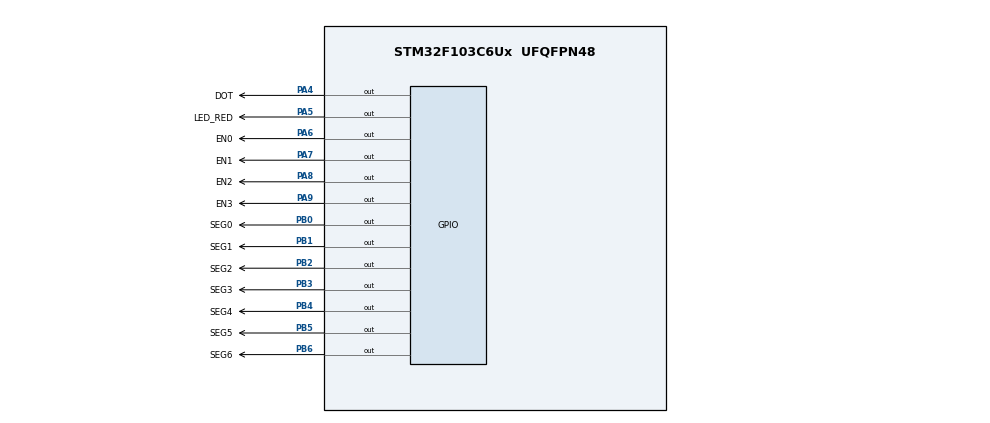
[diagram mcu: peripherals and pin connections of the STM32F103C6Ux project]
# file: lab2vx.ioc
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Mcu.Family=STM32F1
Mcu.Name=STM32F103C6Ux
Mcu.Package=UFQFPN48
NVIC.PriorityGroup=NVIC_PRIORITYGROUP_4
NVIC.TIM2_IRQn=true\:0\:0\:false\:false\:true\:true\:true
PA4.GPIO_Label=DOT
PA4.Signal=GPIO_Output
PA5.GPIO_Label=LED_RED
PA5.Signal=GPIO_Output
PA6.GPIO_Label=EN0
PA6.Signal=GPIO_Output
PA7.GPIO_Label=EN1
PA7.Signal=GPIO_Output
PA8.GPIO_Label=EN2
PA8.Signal=GPIO_Output
PA9.GPIO_Label=EN3
PA9.Signal=GPIO_Output
PB0.GPIO_Label=SEG0
PB0.Signal=GPIO_Output
PB1.GPIO_Label=SEG1
PB1.Signal=GPIO_Output
PB2.GPIO_Label=SEG2
PB2.Signal=GPIO_Output
PB3.GPIO_Label=SEG3
PB3.Signal=GPIO_Output
PB4.GPIO_Label=SEG4
PB4.Signal=GPIO_Output
PB5.GPIO_Label=SEG5
PB5.Signal=GPIO_Output
PB6.GPIO_Label=SEG6
PB6.Signal=GPIO_Output
ProjectManager.HeapSize=0x200
ProjectManager.StackSize=0x400
ProjectManager.TargetToolchain=STM32CubeIDE
RCC.APB1Freq_Value=8000000
RCC.APB2Freq_Value=8000000
TIM2.Period=9
TIM2.Prescaler=7999
VP_SYS_VS_ND.Mode=No_Debug
VP_TIM2_VS_ClockSourceINT.Mode=Internal
board=custom

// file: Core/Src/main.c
/* USER CODE BEGIN Header */
/**
  ******************************************************************************
  * @file           : main.c
  * @brief          : Main program body
  ******************************************************************************
  * @attention
  *
  * <h2><center>&copy; Copyright (c) 2024 STMicroelectronics.
  * All rights reserved.</center></h2>
  *
  * This software component is licensed by ST under BSD 3-Clause license,
  * the "License"; You may not use this file except in compliance with the
  * License. You may obtain a copy of the License at:
  *                        opensource.org/licenses/BSD-3-Clause
  *
  ******************************************************************************
  */
/* USER CODE END Header */
#include "main.h"

/* USER CODE BEGIN Includes */
#include "software_timer.h"

/* USER CODE END Includes */

TIM_HandleTypeDef htim2;

void SystemClock_Config(void);
static void MX_GPIO_Init(void);
static void MX_TIM2_Init(void);

int main(void)
{{
	  HAL_Init();
	  SystemClock_Config();
	  MX_GPIO_Init();
	  MX_TIM2_Init();

	  HAL_TIM_Base_Start_IT(&htim2);

	  const int MAX_LED = 4;
	  int index_led = 0;
	  int led_buffer[4] = {0};

	  int hour = 15, minute = 8, second = 50;
	  setTimer1(25);    // 25ms timer for LED refresh
	  setTimer2(100);   // 1000ms timer for clock update

	  static int timer_counter = -25;  // Counter for DOT blinking
      updateClockBuffer(hour, minute);  // Update the LED buffer with the new time

	  while (1)
	  {
	    if (timer2_flag == 1)
	    {
	      second++;
	      if (second >= 60)
	      {
	        second = 0;
	        minute++;
	      }
	      if (minute >= 60)
	      {
	        minute = 0;
	        hour++;
	      }
	      if (hour >= 24)
	      {
	        hour = 0;
	      }

	      updateClockBuffer(hour, minute);  // Update the LED buffer with the new time
	      setTimer2(100);  // Restart the 1000ms timer for clock update
	    }

	    if (timer1_flag == 1)
	    {
	      // LED refresh
	      update7SEG(index_led);
	      index_led++;
	      if (index_led >= MAX_LED)
	      {
	        index_led = 0;
	      }

	      // DOT blinking logic
	      timer_counter += 25;  // Accumulate 25ms each cycle
	      if (timer_counter >= 100)
	      {
	        HAL_GPIO_TogglePin(GPIOA, DOT_Pin);  // Toggle DOT every 1 second
	        timer_counter = 0;  // Reset the counter
	      }

	      setTimer1(25);  // Restart the 25ms timer for LED refresh
	    }
	  }
}
	}
	      /* USER CODE END WHILE */

void SystemClock_Config(void)
{
  RCC_OscInitTypeDef RCC_OscInitStruct = {0};
  RCC_ClkInitTypeDef RCC_ClkInitStruct = {0};

  /** Initializes the RCC Oscillators according to the specified parameters
  * in the RCC_OscInitTypeDef structure.
  */
  RCC_OscInitStruct.OscillatorType = RCC_OSCILLATORTYPE_HSI;
  RCC_OscInitStruct.HSIState = RCC_HSI_ON;
  RCC_OscInitStruct.HSICalibrationValue = RCC_HSICALIBRATION_DEFAULT;
  RCC_OscInitStruct.PLL.PLLState = RCC_PLL_NONE;
  if (HAL_RCC_OscConfig(&RCC_OscInitStruct) != HAL_OK)
  {
    Error_Handler();
  }
  /** Initializes the CPU, AHB and APB buses clocks
  */
  RCC_ClkInitStruct.ClockType = RCC_CLOCKTYPE_HCLK|RCC_CLOCKTYPE_SYSCLK
                              |RCC_CLOCKTYPE_PCLK1|RCC_CLOCKTYPE_PCLK2;
  RCC_ClkInitStruct.SYSCLKSource = RCC_SYSCLKSOURCE_HSI;
  RCC_ClkInitStruct.AHBCLKDivider = RCC_SYSCLK_DIV1;
  RCC_ClkInitStruct.APB1CLKDivider = RCC_HCLK_DIV1;
  RCC_ClkInitStruct.APB2CLKDivider = RCC_HCLK_DIV1;

  if (HAL_RCC_ClockConfig(&RCC_ClkInitStruct, FLASH_LATENCY_0) != HAL_OK)
  {
    Error_Handler();
  }
}

static void MX_TIM2_Init(void)
{

  TIM_ClockConfigTypeDef sClockSourceConfig = {0};
  TIM_MasterConfigTypeDef sMasterConfig = {0};

  htim2.Instance = TIM2;
  htim2.Init.Prescaler = 7999;
  htim2.Init.CounterMode = TIM_COUNTERMODE_UP;
  htim2.Init.Period = 9;
  htim2.Init.ClockDivision = TIM_CLOCKDIVISION_DIV1;
  htim2.Init.AutoReloadPreload = TIM_AUTORELOAD_PRELOAD_DISABLE;
  if (HAL_TIM_Base_Init(&htim2) != HAL_OK)
  {
    Error_Handler();
  }
  sClockSourceConfig.ClockSource = TIM_CLOCKSOURCE_INTERNAL;
  if (HAL_TIM_ConfigClockSource(&htim2, &sClockSourceConfig) != HAL_OK)
  {
    Error_Handler();
  }
  sMasterConfig.MasterOutputTrigger = TIM_TRGO_RESET;
  sMasterConfig.MasterSlaveMode = TIM_MASTERSLAVEMODE_DISABLE;
  if (HAL_TIMEx_MasterConfigSynchronization(&htim2, &sMasterConfig) != HAL_OK)
  {
    Error_Handler();
  }

}

static void MX_GPIO_Init(void)
{
  GPIO_InitTypeDef GPIO_InitStruct = {0};

  /* GPIO Ports Clock Enable */
  __HAL_RCC_GPIOA_CLK_ENABLE();
  __HAL_RCC_GPIOB_CLK_ENABLE();

  /*Configure GPIO pin Output Level */
  HAL_GPIO_WritePin(GPIOA, DOT_Pin|LED_RED_Pin|EN0_Pin|EN1_Pin
                          |EN2_Pin|EN3_Pin, GPIO_PIN_RESET);

  /*Configure GPIO pin Output Level */
  HAL_GPIO_WritePin(GPIOB, SEG0_Pin|SEG1_Pin|SEG2_Pin|SEG3_Pin
                          |SEG4_Pin|SEG5_Pin|SEG6_Pin, GPIO_PIN_RESET);

  /*Configure GPIO pins : DOT_Pin LED_RED_Pin EN0_Pin EN1_Pin
                           EN2_Pin EN3_Pin */
  GPIO_InitStruct.Pin = DOT_Pin|LED_RED_Pin|EN0_Pin|EN1_Pin
                          |EN2_Pin|EN3_Pin;
  GPIO_InitStruct.Mode = GPIO_MODE_OUTPUT_PP;
  GPIO_InitStruct.Pull = GPIO_NOPULL;
  GPIO_InitStruct.Speed = GPIO_SPEED_FREQ_LOW;
  HAL_GPIO_Init(GPIOA, &GPIO_InitStruct);

  /*Configure GPIO pins : SEG0_Pin SEG1_Pin SEG2_Pin SEG3_Pin
                           SEG4_Pin SEG5_Pin SEG6_Pin */
  GPIO_InitStruct.Pin = SEG0_Pin|SEG1_Pin|SEG2_Pin|SEG3_Pin
                          |SEG4_Pin|SEG5_Pin|SEG6_Pin;
  GPIO_InitStruct.Mode = GPIO_MODE_OUTPUT_PP;
  GPIO_InitStruct.Pull = GPIO_NOPULL;
  GPIO_InitStruct.Speed = GPIO_SPEED_FREQ_LOW;
  HAL_GPIO_Init(GPIOB, &GPIO_InitStruct);

}

/* USER CODE BEGIN 4 */
const int MAX_LED = 4;
int index_led = 0;
int led_buffer [4] = {};
void updateClockBuffer(int hour, int minute) {
    // Separate the digits of hour and minute
    led_buffer[0] = hour / 10;      // Tens digit of hour
    led_buffer[1] = hour % 10;      // Units digit of hour
    led_buffer[2] = minute / 10;    // Tens digit of minute
    led_buffer[3] = minute % 10;    // Units digit of minute
}

 void display7SEG(int counter){

	    HAL_GPIO_WritePin(GPIOB, SEG0_Pin | SEG1_Pin | SEG2_Pin | SEG3_Pin| SEG4_Pin| SEG5_Pin | SEG6_Pin, SET );
	  		  switch (counter){
	  	  case 0:
	  	  HAL_GPIO_WritePin(GPIOB,SEG0_Pin| SEG1_Pin | SEG2_Pin| SEG3_Pin| SEG4_Pin | SEG5_Pin, RESET );
	  	  break;
	 	  case 1:
	    HAL_GPIO_WritePin(GPIOB, SEG2_Pin | SEG1_Pin , RESET );
	 	  break;
	 	  case 2:
	 	  HAL_GPIO_WritePin(GPIOB, SEG0_Pin | SEG1_Pin | SEG3_Pin | SEG4_Pin | SEG6_Pin, RESET );
	 	  break;
	 	  case 3:
	 	  HAL_GPIO_WritePin(GPIOB,  SEG0_Pin | SEG1_Pin | SEG2_Pin | SEG3_Pin  | SEG6_Pin, RESET );
	 	  break;
	 	  case 4:
	 	  HAL_GPIO_WritePin(GPIOB, SEG1_Pin | SEG2_Pin | SEG6_Pin | SEG5_Pin, RESET );
	 	  break;
	 	  case 5:
	 	  HAL_GPIO_WritePin(GPIOB,SEG0_Pin| SEG2_Pin | SEG3_Pin | SEG6_Pin | SEG5_Pin, RESET );
	 	  break;
	 	  case 6:
	 	  HAL_GPIO_WritePin(GPIOB,SEG0_Pin| SEG2_Pin | SEG3_Pin| SEG4_Pin | SEG6_Pin | SEG5_Pin, RESET );
	 	  break;
	 	  case 7:
	 	  HAL_GPIO_WritePin(GPIOB, SEG1_Pin | SEG2_Pin | SEG0_Pin , RESET );
	 	  break;
	 	  case 8:
	 	  HAL_GPIO_WritePin(GPIOB,SEG0_Pin| SEG1_Pin | SEG2_Pin| SEG3_Pin| SEG4_Pin| SEG6_Pin | SEG5_Pin, RESET );
	 	  break;
	 	  case 9:
	 	  HAL_GPIO_WritePin(GPIOB,SEG0_Pin| SEG1_Pin | SEG2_Pin| SEG3_Pin | SEG6_Pin | SEG5_Pin, RESET );
	 	  break;
	  		  }
	   }
 	void update7SEG(int index){
					        switch (index) {
					            case 0:
					                // Hiển thị số 1 trên LED thứ nhất
					                HAL_GPIO_WritePin(GPIOA, EN1_Pin | EN2_Pin | EN3_Pin, SET);
					                HAL_GPIO_WritePin(GPIOA, EN0_Pin, RESET);
					                display7SEG(led_buffer[0]);
					                break;

					            case 1:
					                // Hiển thị số 2 trên LED thứ hai
					                HAL_GPIO_WritePin(GPIOA, EN1_Pin, RESET);
					                HAL_GPIO_WritePin(GPIOA, EN0_Pin | EN2_Pin | EN3_Pin, SET);
					                display7SEG(led_buffer[1]);
					                break;

					            case 2:
					                // Hiển thị số 3 trên LED thứ ba
					                HAL_GPIO_WritePin(GPIOA, EN2_Pin, RESET);
					                HAL_GPIO_WritePin(GPIOA, EN0_Pin | EN1_Pin | EN3_Pin, SET);
					                display7SEG(led_buffer[2]);
					                break;

					            case 3:
					                // Hiển thị số 0 trên LED thứ tư
					                HAL_GPIO_WritePin(GPIOA, EN3_Pin, RESET);
					                HAL_GPIO_WritePin(GPIOA, EN0_Pin | EN1_Pin | EN2_Pin, SET);
					                display7SEG(led_buffer[3]);
					                  // Quay lại trạng thái ban đầu
					                break;

					            default:
					                break;
					        }
	}
	void HAL_TIM_PeriodElapsedCallback(TIM_HandleTypeDef *htim){
//		static int timer_counter = -250;  // Biến đếm thời gian*/
//
//
//				      if (timer1_flag == 1){
//				    	  timer_counter += 250;  // Cộng dồn thời gian, mỗi lần tăng thêm 50ms
//		             if (timer_counter >= 1000) {
//		            	 HAL_GPIO_TogglePin(GPIOA, DOT_Pin);  // Đổi trạng thái LED DOT
//		            	 timer_counter = 0;  }// Reset lại biến đếm sau 1 giây
//				    	 update7SEG(index_led);
//				    	 index_led++;
//				    	 if( index_led >= MAX_LED){
//				    		 index_led = 0;
//				    	 }
//				    	 setTimer1(25);
//
//		             }

	   timerRun();

	}
/* USER CODE END 4 */

void Error_Handler(void)
{
  __disable_irq();
  while (1)
  {
  }
}

/************************ (C) COPYRIGHT STMicroelectronics *****END OF FILE****/
